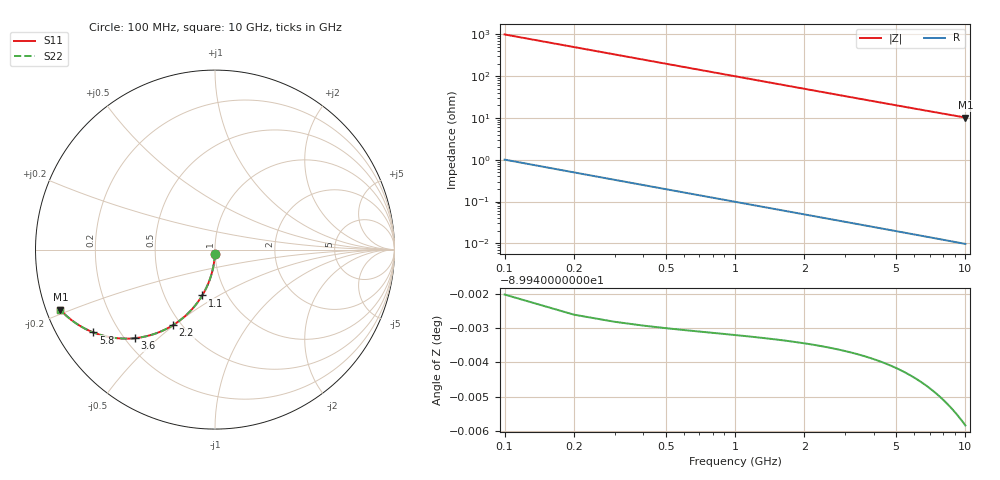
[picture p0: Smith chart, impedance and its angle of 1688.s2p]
# Hz S RI R 50.00
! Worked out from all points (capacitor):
!   100 points, 100 MHz to 10 GHz, reference 50 ohm
!   read as one part in shunt: C = 1.6 pF near 100 MHz
!   lowest |Z| = 10.2 ohm at 10 GHz (marker M1)
!   S11 on the Smith chart (normalised r, x): 100 MHz: 1.00, -0.05; 1.1 GHz: 0.77, -0.42; 2.2 GHz: 0.45, -0.50; 3.6 GHz: 0.24, -0.42; 5.8 GHz: 0.11, -0.30; 10 GHz: 0.04, -0.19
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1e8  -0.000639 -0.025  0.9993 -0.0252  0.9993 -0.0252  -0.000639 -0.025
2e8  -0.00255 -0.05  0.9974 -0.0503  0.9974 -0.0503  -0.00255 -0.05
3e8  -0.00571 -0.0747  0.9943 -0.0752  0.9943 -0.0752  -0.00571 -0.0747
4e8  -0.0101 -0.0991  0.9899 -0.0999  0.9899 -0.0999  -0.0101 -0.0991
5e8  -0.0156 -0.1232  0.9843 -0.1241  0.9843 -0.1241  -0.0156 -0.1232
6e8  -0.0223 -0.1468  0.9776 -0.1479  0.9776 -0.1479  -0.0223 -0.1468
7e8  -0.0301 -0.1699  0.9698 -0.1712  0.9698 -0.1712  -0.0301 -0.1699
9e8  -0.0488 -0.2142  0.9512 -0.2158  0.9512 -0.2158  -0.0488 -0.2142
1.1e9  -0.0711 -0.2556  0.9288 -0.2575  0.9288 -0.2575  -0.0711 -0.2556
1.4e9  -0.1102 -0.3114  0.8898 -0.3139  0.8898 -0.3139  -0.1102 -0.3114
1.8e9  -0.1697 -0.3733  0.8302 -0.3765  0.8302 -0.3765  -0.1697 -0.3733
2.2e9  -0.2337 -0.4207  0.7663 -0.4246  0.7663 -0.4246  -0.2337 -0.4207
2.8e9  -0.3302 -0.4673  0.6697 -0.4723  0.6697 -0.4723  -0.3302 -0.4673
3.4e9  -0.4205 -0.4901  0.5794 -0.4962  0.5794 -0.4962  -0.4205 -0.4901
3.6e9  -0.4485 -0.4936  0.5515 -0.5001  0.5515 -0.5001  -0.4485 -0.4936
4.3e9  -0.5366 -0.4943  0.4633 -0.502  0.4633 -0.502  -0.5366 -0.4943
5.1e9  -0.6193 -0.4804  0.3807 -0.4897  0.3807 -0.4897  -0.6193 -0.4804
5.8e9  -0.6775 -0.4616  0.3224 -0.4722  0.3224 -0.4722  -0.6775 -0.4616
6.7e9  -0.7369 -0.4337  0.263 -0.4459  0.263 -0.4459  -0.7369 -0.4337
7.5e9  -0.7781 -0.4081  0.2217 -0.4218  0.2217 -0.4218  -0.7781 -0.4081
8.4e9  -0.8147 -0.3802  0.1851 -0.3957  0.1851 -0.3957  -0.8147 -0.3802
1e10  -0.8618 -0.3352  0.138 -0.3538  0.138 -0.3538  -0.8618 -0.3352
